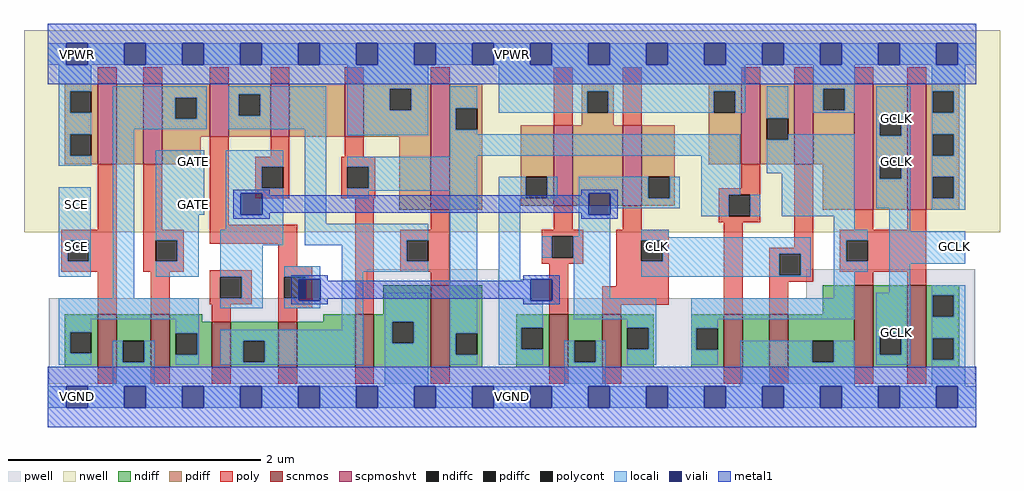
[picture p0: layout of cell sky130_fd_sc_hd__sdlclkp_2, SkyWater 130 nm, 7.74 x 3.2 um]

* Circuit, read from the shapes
.subckt sky130_fd_sc_hd__sdlclkp_2 CLK GATE SCE VGND VNB VPB VPWR GCLK
XM1 VGND SCE n1 VNB sky130_fd_pr__nfet_01v8 w=0.42 l=0.15
XM2 n1 GATE VGND VNB sky130_fd_pr__nfet_01v8 w=0.42 l=0.15
XM3 n2 n3 n1 VNB sky130_fd_pr__nfet_01v8 w=0.36 l=0.15
XM4 n4 n5 n2 VNB sky130_fd_pr__nfet_01v8 w=0.36 l=0.15
XM5 VGND n6 n4 VNB sky130_fd_pr__nfet_01v8 w=0.42 l=0.15
XM6 n6 n2 VGND VNB sky130_fd_pr__nfet_01v8 w=0.65 l=0.15
XM7 VGND n3 n5 VNB sky130_fd_pr__nfet_01v8 w=0.42 l=0.15
XM8 n3 CLK VGND VNB sky130_fd_pr__nfet_01v8 w=0.42 l=0.15
XM9 n7 n6 n8 VNB sky130_fd_pr__nfet_01v8 w=0.42 l=0.15
XM10 VGND CLK n7 VNB sky130_fd_pr__nfet_01v8 w=0.42 l=0.15
XM11 GCLK n8 VGND VNB sky130_fd_pr__nfet_01v8 w=0.65 l=0.15 m=2
XM12 n9 SCE VPWR VPB sky130_fd_pr__pfet_01v8_hvt w=0.64 l=0.15
XM13 n1 GATE n9 VPB sky130_fd_pr__pfet_01v8_hvt w=0.64 l=0.15
XM14 n2 n5 n1 VPB sky130_fd_pr__pfet_01v8_hvt w=0.42 l=0.15
XM15 n10 n3 n2 VPB sky130_fd_pr__pfet_01v8_hvt w=0.42 l=0.15
XM16 VPWR n6 n10 VPB sky130_fd_pr__pfet_01v8_hvt w=0.42 l=0.15
XM17 n6 n2 VPWR VPB sky130_fd_pr__pfet_01v8_hvt w=1 l=0.15
XM18 VPWR n3 n5 VPB sky130_fd_pr__pfet_01v8_hvt w=0.64 l=0.15
XM19 n3 CLK VPWR VPB sky130_fd_pr__pfet_01v8_hvt w=0.64 l=0.15
XM20 n8 n6 VPWR VPB sky130_fd_pr__pfet_01v8_hvt w=0.64 l=0.15
XM21 VPWR CLK n8 VPB sky130_fd_pr__pfet_01v8_hvt w=0.64 l=0.15
XM22 GCLK n8 VPWR VPB sky130_fd_pr__pfet_01v8_hvt w=1 l=0.15 m=2
.ends

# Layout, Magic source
magic
tech sky130A
magscale 1 2
<< nwell >>
rect -38 261 1510 582
<< pwell >>
rect 506 157 715 203
rect 1203 157 1471 203
rect 1 21 1471 157
rect 30 -17 64 21
<< scnmos >>
rect 79 47 109 131
rect 163 47 193 131
rect 260 47 290 119
rect 365 47 395 119
rect 487 47 517 131
rect 607 47 637 177
rect 795 47 825 131
rect 879 47 909 131
rect 1072 47 1102 131
rect 1144 47 1174 131
rect 1279 47 1309 177
rect 1363 47 1393 177
<< scpmoshvt >>
rect 79 369 109 497
rect 151 369 181 497
rect 257 413 287 497
rect 353 413 383 497
rect 471 413 501 497
rect 607 297 637 497
rect 802 303 832 431
rect 912 303 942 431
rect 1100 369 1130 497
rect 1184 369 1214 497
rect 1279 297 1309 497
rect 1363 297 1393 497
<< ndiff >>
rect 27 103 79 131
rect 27 69 35 103
rect 69 69 79 103
rect 27 47 79 69
rect 109 89 163 131
rect 109 55 119 89
rect 153 55 163 89
rect 109 47 163 55
rect 193 119 245 131
rect 532 131 607 177
rect 437 119 487 131
rect 193 101 260 119
rect 193 67 203 101
rect 237 67 260 101
rect 193 47 260 67
rect 290 89 365 119
rect 290 55 310 89
rect 344 55 365 89
rect 290 47 365 55
rect 395 47 487 119
rect 517 119 607 131
rect 517 85 546 119
rect 580 85 607 119
rect 517 47 607 85
rect 637 101 689 177
rect 1229 131 1279 177
rect 637 67 647 101
rect 681 67 689 101
rect 637 47 689 67
rect 743 110 795 131
rect 743 76 751 110
rect 785 76 795 110
rect 743 47 795 76
rect 825 89 879 131
rect 825 55 835 89
rect 869 55 879 89
rect 825 47 879 55
rect 909 110 961 131
rect 909 76 919 110
rect 953 76 961 110
rect 909 47 961 76
rect 1020 109 1072 131
rect 1020 75 1028 109
rect 1062 75 1072 109
rect 1020 47 1072 75
rect 1102 47 1144 131
rect 1174 89 1279 131
rect 1174 55 1212 89
rect 1246 55 1279 89
rect 1174 47 1279 55
rect 1309 101 1363 177
rect 1309 67 1319 101
rect 1353 67 1363 101
rect 1309 47 1363 67
rect 1393 161 1445 177
rect 1393 127 1403 161
rect 1437 127 1445 161
rect 1393 93 1445 127
rect 1393 59 1403 93
rect 1437 59 1445 93
rect 1393 47 1445 59
<< pdiff >>
rect 27 485 79 497
rect 27 451 35 485
rect 69 451 79 485
rect 27 417 79 451
rect 27 383 35 417
rect 69 383 79 417
rect 27 369 79 383
rect 109 369 151 497
rect 181 475 257 497
rect 181 441 202 475
rect 236 441 257 475
rect 181 413 257 441
rect 287 480 353 497
rect 287 446 303 480
rect 337 446 353 480
rect 287 413 353 446
rect 383 413 471 497
rect 501 489 607 497
rect 501 455 542 489
rect 576 455 607 489
rect 501 413 607 455
rect 181 369 242 413
rect 557 297 607 413
rect 637 458 689 497
rect 637 424 647 458
rect 681 424 689 458
rect 847 485 897 497
rect 847 451 855 485
rect 889 451 897 485
rect 847 431 897 451
rect 1048 485 1100 497
rect 1048 451 1056 485
rect 1090 451 1100 485
rect 637 297 689 424
rect 750 349 802 431
rect 750 315 758 349
rect 792 315 802 349
rect 750 303 802 315
rect 832 303 912 431
rect 942 349 994 431
rect 1048 369 1100 451
rect 1130 442 1184 497
rect 1130 408 1140 442
rect 1174 408 1184 442
rect 1130 369 1184 408
rect 1214 489 1279 497
rect 1214 455 1230 489
rect 1264 455 1279 489
rect 1214 369 1279 455
rect 942 315 952 349
rect 986 315 994 349
rect 942 303 994 315
rect 1229 297 1279 369
rect 1309 448 1363 497
rect 1309 414 1319 448
rect 1353 414 1363 448
rect 1309 380 1363 414
rect 1309 346 1319 380
rect 1353 346 1363 380
rect 1309 297 1363 346
rect 1393 485 1445 497
rect 1393 451 1403 485
rect 1437 451 1445 485
rect 1393 417 1445 451
rect 1393 383 1403 417
rect 1437 383 1445 417
rect 1393 349 1445 383
rect 1393 315 1403 349
rect 1437 315 1445 349
rect 1393 297 1445 315
<< ndiffc >>
rect 35 69 69 103
rect 119 55 153 89
rect 203 67 237 101
rect 310 55 344 89
rect 546 85 580 119
rect 647 67 681 101
rect 751 76 785 110
rect 835 55 869 89
rect 919 76 953 110
rect 1028 75 1062 109
rect 1212 55 1246 89
rect 1319 67 1353 101
rect 1403 127 1437 161
rect 1403 59 1437 93
<< pdiffc >>
rect 35 451 69 485
rect 35 383 69 417
rect 202 441 236 475
rect 303 446 337 480
rect 542 455 576 489
rect 647 424 681 458
rect 855 451 889 485
rect 1056 451 1090 485
rect 758 315 792 349
rect 1140 408 1174 442
rect 1230 455 1264 489
rect 952 315 986 349
rect 1319 414 1353 448
rect 1319 346 1353 380
rect 1403 451 1437 485
rect 1403 383 1437 417
rect 1403 315 1437 349
<< poly >>
rect 79 497 109 523
rect 151 497 181 523
rect 257 497 287 523
rect 353 497 383 523
rect 471 497 501 523
rect 607 497 637 523
rect 79 265 109 369
rect 21 249 109 265
rect 21 215 31 249
rect 65 215 109 249
rect 21 199 109 215
rect 151 265 181 369
rect 257 273 287 413
rect 353 381 383 413
rect 471 381 501 413
rect 329 365 383 381
rect 329 331 339 365
rect 373 331 383 365
rect 329 315 383 331
rect 465 365 519 381
rect 465 331 475 365
rect 509 331 519 365
rect 465 315 519 331
rect 151 249 215 265
rect 151 215 171 249
rect 205 215 215 249
rect 257 243 395 273
rect 151 199 215 215
rect 365 207 395 243
rect 79 131 109 199
rect 163 131 193 199
rect 257 191 323 201
rect 257 157 273 191
rect 307 157 323 191
rect 257 147 323 157
rect 365 191 419 207
rect 365 157 375 191
rect 409 157 419 191
rect 260 119 290 147
rect 365 141 419 157
rect 365 119 395 141
rect 487 131 517 315
rect 802 431 832 523
rect 912 431 942 523
rect 1100 497 1130 523
rect 1184 497 1214 523
rect 1279 497 1309 523
rect 1363 497 1393 523
rect 1100 331 1130 369
rect 1064 321 1130 331
rect 607 265 637 297
rect 802 265 832 303
rect 912 265 942 303
rect 1064 287 1080 321
rect 1114 287 1130 321
rect 1064 277 1130 287
rect 559 249 637 265
rect 559 215 569 249
rect 603 215 637 249
rect 559 199 637 215
rect 783 255 849 265
rect 783 221 799 255
rect 833 221 849 255
rect 783 211 849 221
rect 901 249 985 265
rect 901 215 941 249
rect 975 215 985 249
rect 607 177 637 199
rect 795 131 825 211
rect 901 176 985 215
rect 879 146 985 176
rect 879 131 909 146
rect 1072 131 1102 277
rect 1184 237 1214 369
rect 1279 265 1309 297
rect 1363 265 1393 297
rect 1144 227 1214 237
rect 1144 193 1160 227
rect 1194 193 1214 227
rect 1256 249 1393 265
rect 1256 215 1266 249
rect 1300 215 1393 249
rect 1256 199 1393 215
rect 1144 183 1214 193
rect 1144 131 1174 183
rect 1279 177 1309 199
rect 1363 177 1393 199
rect 79 21 109 47
rect 163 21 193 47
rect 260 21 290 47
rect 365 21 395 47
rect 487 21 517 47
rect 607 21 637 47
rect 795 21 825 47
rect 879 21 909 47
rect 1072 21 1102 47
rect 1144 21 1174 47
rect 1279 21 1309 47
rect 1363 21 1393 47
<< polycont >>
rect 31 215 65 249
rect 339 331 373 365
rect 475 331 509 365
rect 171 215 205 249
rect 273 157 307 191
rect 375 157 409 191
rect 1080 287 1114 321
rect 569 215 603 249
rect 799 221 833 255
rect 941 215 975 249
rect 1160 193 1194 227
rect 1266 215 1300 249
<< locali >>
rect 0 527 29 561
rect 63 527 121 561
rect 155 527 213 561
rect 247 527 305 561
rect 339 527 397 561
rect 431 527 489 561
rect 523 527 581 561
rect 615 527 673 561
rect 707 527 765 561
rect 799 527 857 561
rect 891 527 949 561
rect 983 527 1041 561
rect 1075 527 1133 561
rect 1167 527 1225 561
rect 1259 527 1317 561
rect 1351 527 1409 561
rect 1443 527 1472 561
rect 17 485 69 527
rect 17 451 35 485
rect 17 417 69 451
rect 17 383 35 417
rect 17 367 69 383
rect 103 475 252 493
rect 103 441 202 475
rect 236 441 252 475
rect 103 425 252 441
rect 286 480 441 493
rect 286 446 303 480
rect 337 446 441 480
rect 286 425 441 446
rect 17 249 68 333
rect 17 215 31 249
rect 65 215 68 249
rect 17 191 68 215
rect 103 157 137 425
rect 171 289 248 391
rect 282 365 373 391
rect 282 331 339 365
rect 282 323 373 331
rect 282 289 306 323
rect 340 289 373 323
rect 171 249 239 289
rect 282 265 373 289
rect 205 215 239 249
rect 171 191 239 215
rect 273 241 373 265
rect 407 275 441 425
rect 475 489 603 527
rect 475 455 542 489
rect 576 455 603 489
rect 475 415 603 455
rect 637 458 681 493
rect 637 424 647 458
rect 715 485 1106 527
rect 715 451 855 485
rect 889 451 1056 485
rect 1090 451 1106 485
rect 637 417 681 424
rect 1140 442 1174 493
rect 1214 489 1280 527
rect 1214 455 1230 489
rect 1264 455 1280 489
rect 1214 451 1280 455
rect 637 383 1098 417
rect 637 381 681 383
rect 475 365 681 381
rect 509 331 681 365
rect 475 327 681 331
rect 475 315 509 327
rect 407 249 603 275
rect 407 241 569 249
rect 273 191 341 241
rect 466 215 569 241
rect 307 157 341 191
rect 17 123 239 157
rect 273 141 341 157
rect 375 191 432 207
rect 409 187 432 191
rect 375 153 398 157
rect 375 141 432 153
rect 466 199 603 215
rect 17 103 69 123
rect 17 69 35 103
rect 203 101 239 123
rect 466 107 500 199
rect 17 51 69 69
rect 103 55 119 89
rect 153 55 169 89
rect 103 17 169 55
rect 237 67 239 101
rect 203 51 239 67
rect 273 89 500 107
rect 273 55 310 89
rect 344 55 500 89
rect 273 51 500 55
rect 534 119 603 165
rect 534 85 546 119
rect 580 85 603 119
rect 534 17 603 85
rect 637 101 681 327
rect 637 67 647 101
rect 637 51 681 67
rect 715 315 758 349
rect 792 315 808 349
rect 842 323 952 349
rect 715 187 749 315
rect 842 289 858 323
rect 892 315 952 323
rect 986 315 1002 349
rect 892 299 1002 315
rect 1036 321 1098 383
rect 1314 448 1368 493
rect 1174 408 1280 417
rect 1140 355 1280 408
rect 842 255 892 289
rect 1036 287 1080 321
rect 1114 287 1130 321
rect 1164 287 1280 355
rect 1314 414 1319 448
rect 1353 414 1368 448
rect 1314 380 1368 414
rect 1314 346 1319 380
rect 1353 346 1368 380
rect 1314 299 1368 346
rect 1246 265 1280 287
rect 783 221 799 255
rect 833 221 892 255
rect 715 153 766 187
rect 834 157 892 221
rect 941 253 985 265
rect 941 249 1210 253
rect 975 227 1210 249
rect 975 215 1160 227
rect 941 193 1160 215
rect 1194 193 1210 227
rect 941 191 1210 193
rect 1246 249 1300 265
rect 1246 215 1266 249
rect 1246 199 1300 215
rect 1334 263 1368 299
rect 1402 485 1455 527
rect 1402 451 1403 485
rect 1437 451 1455 485
rect 1402 417 1455 451
rect 1402 383 1403 417
rect 1437 383 1455 417
rect 1402 349 1455 383
rect 1402 315 1403 349
rect 1437 315 1455 349
rect 1402 297 1455 315
rect 1334 211 1455 263
rect 1246 157 1280 199
rect 1334 165 1368 211
rect 715 110 785 153
rect 834 123 965 157
rect 715 76 751 110
rect 919 110 965 123
rect 715 51 785 76
rect 819 55 835 89
rect 869 55 885 89
rect 819 17 885 55
rect 953 76 965 110
rect 919 51 965 76
rect 1020 123 1280 157
rect 1020 109 1062 123
rect 1020 75 1028 109
rect 1314 101 1368 165
rect 1020 51 1062 75
rect 1098 55 1212 89
rect 1246 55 1280 89
rect 1098 17 1280 55
rect 1314 67 1319 101
rect 1353 67 1368 101
rect 1314 51 1368 67
rect 1402 161 1455 177
rect 1402 127 1403 161
rect 1437 127 1455 161
rect 1402 93 1455 127
rect 1402 59 1403 93
rect 1437 59 1455 93
rect 1402 17 1455 59
rect 0 -17 29 17
rect 63 -17 121 17
rect 155 -17 213 17
rect 247 -17 305 17
rect 339 -17 397 17
rect 431 -17 489 17
rect 523 -17 581 17
rect 615 -17 673 17
rect 707 -17 765 17
rect 799 -17 857 17
rect 891 -17 949 17
rect 983 -17 1041 17
rect 1075 -17 1133 17
rect 1167 -17 1225 17
rect 1259 -17 1317 17
rect 1351 -17 1409 17
rect 1443 -17 1472 17
<< viali >>
rect 29 527 63 561
rect 121 527 155 561
rect 213 527 247 561
rect 305 527 339 561
rect 397 527 431 561
rect 489 527 523 561
rect 581 527 615 561
rect 673 527 707 561
rect 765 527 799 561
rect 857 527 891 561
rect 949 527 983 561
rect 1041 527 1075 561
rect 1133 527 1167 561
rect 1225 527 1259 561
rect 1317 527 1351 561
rect 1409 527 1443 561
rect 306 289 340 323
rect 398 157 409 187
rect 409 157 432 187
rect 398 153 432 157
rect 858 289 892 323
rect 766 153 800 187
rect 29 -17 63 17
rect 121 -17 155 17
rect 213 -17 247 17
rect 305 -17 339 17
rect 397 -17 431 17
rect 489 -17 523 17
rect 581 -17 615 17
rect 673 -17 707 17
rect 765 -17 799 17
rect 857 -17 891 17
rect 949 -17 983 17
rect 1041 -17 1075 17
rect 1133 -17 1167 17
rect 1225 -17 1259 17
rect 1317 -17 1351 17
rect 1409 -17 1443 17
<< metal1 >>
rect 0 561 1472 592
rect 0 527 29 561
rect 63 527 121 561
rect 155 527 213 561
rect 247 527 305 561
rect 339 527 397 561
rect 431 527 489 561
rect 523 527 581 561
rect 615 527 673 561
rect 707 527 765 561
rect 799 527 857 561
rect 891 527 949 561
rect 983 527 1041 561
rect 1075 527 1133 561
rect 1167 527 1225 561
rect 1259 527 1317 561
rect 1351 527 1409 561
rect 1443 527 1472 561
rect 0 496 1472 527
rect 294 323 352 329
rect 294 289 306 323
rect 340 320 352 323
rect 846 323 904 329
rect 846 320 858 323
rect 340 292 858 320
rect 340 289 352 292
rect 294 283 352 289
rect 846 289 858 292
rect 892 289 904 323
rect 846 283 904 289
rect 386 187 444 193
rect 386 153 398 187
rect 432 184 444 187
rect 754 187 812 193
rect 754 184 766 187
rect 432 156 766 184
rect 432 153 444 156
rect 386 147 444 153
rect 754 153 766 156
rect 800 153 812 187
rect 754 147 812 153
rect 0 17 1472 48
rect 0 -17 29 17
rect 63 -17 121 17
rect 155 -17 213 17
rect 247 -17 305 17
rect 339 -17 397 17
rect 431 -17 489 17
rect 523 -17 581 17
rect 615 -17 673 17
rect 707 -17 765 17
rect 799 -17 857 17
rect 891 -17 949 17
rect 983 -17 1041 17
rect 1075 -17 1133 17
rect 1167 -17 1225 17
rect 1259 -17 1317 17
rect 1351 -17 1409 17
rect 1443 -17 1472 17
rect 0 -48 1472 -17
<< labels >>
flabel locali s 29 289 63 323 0 FreeSans 200 0 0 0 SCE
port 3 nsew signal input
flabel locali s 950 221 984 255 0 FreeSans 200 0 0 0 CLK
port 1 nsew clock input
flabel locali s 1329 425 1363 459 0 FreeSans 200 0 0 0 GCLK
port 8 nsew signal output
flabel locali s 1329 357 1363 391 0 FreeSans 200 0 0 0 GCLK
port 8 nsew signal output
flabel locali s 214 357 248 391 0 FreeSans 200 0 0 0 GATE
port 2 nsew signal input
flabel locali s 1329 85 1363 119 0 FreeSans 200 0 0 0 GCLK
port 8 nsew signal output
flabel locali s 214 289 248 323 0 FreeSans 200 0 0 0 GATE
port 2 nsew signal input
flabel locali s 29 221 63 255 0 FreeSans 200 0 0 0 SCE
port 3 nsew signal input
flabel locali s 1421 221 1455 255 0 FreeSans 200 0 0 0 GCLK
port 8 nsew signal output
flabel metal1 s 30 -17 64 17 0 FreeSans 200 0 0 0 VGND
port 4 nsew ground bidirectional abutment
flabel metal1 s 30 527 64 561 0 FreeSans 200 0 0 0 VPWR
port 7 nsew power bidirectional abutment
flabel nwell s 30 527 64 561 0 FreeSans 200 0 0 0 VPB
port 6 nsew power bidirectional
flabel pwell s 30 -17 64 17 0 FreeSans 200 0 0 0 VNB
port 5 nsew ground bidirectional
rlabel comment s 0 0 0 0 4 sdlclkp_2
rlabel metal1 s 0 -48 1472 48 1 VGND
port 4 nsew ground bidirectional abutment
rlabel metal1 s 0 496 1472 592 1 VPWR
port 7 nsew power bidirectional abutment
<< properties >>
string FIXED_BBOX 0 0 1472 544
string GDS_END 431368
string GDS_FILE $PDKPATH/libs.ref/sky130_fd_sc_hd/gds/sky130_fd_sc_hd.gds
string GDS_START 419768
string LEFclass CORE
string LEFsite unithd
string LEFsymmetry X Y R90
string path 0.000 0.000 7.360 0.000 
<< end >>
